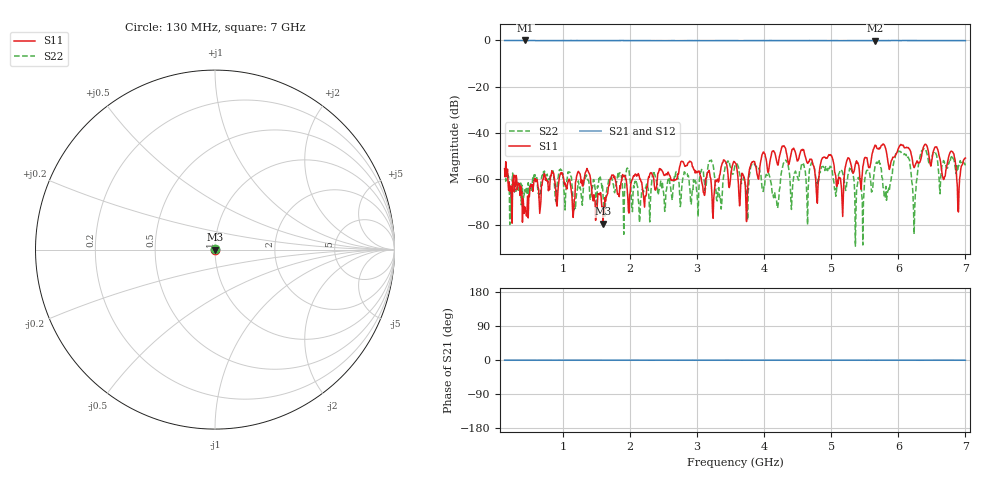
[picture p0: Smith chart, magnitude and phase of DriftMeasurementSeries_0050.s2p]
# Hz S RI R 50.000000
! Metas.Vna.Tools, 2.8.8664.20301
! Metas.Vna.Data, 2.8.8664.20285
! Created: UTC 2024.02.11 10:08:24
! FREQ  re:S1,1  im:S1,1  re:S2,1  im:S2,1  re:S1,2  im:S1,2  re:S2,2  im:S2,2
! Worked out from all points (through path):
!   801 points, 130 MHz to 7 GHz, reference 50 ohm
!   highest |S21| = 0.01 dB at 439.1 MHz (marker M1); lowest = -0.1 dB at 5.652 GHz (marker M2)
!   lowest |S11| = -79.3 dB at 1.598 GHz (marker M3), VSWR 1.00, Z = 50 + j0.00946 ohm
!   |S11| at or under -10 dB: start of sweep to end of sweep
!   |S22| runs from -89.0 to -46.6 dB; largest |S21 - S12| = 0.012
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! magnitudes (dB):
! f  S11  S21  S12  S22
! 130 MHz  -55.5  0.0  0.0  -56.6
! 439.1 MHz  -73.8  0.0  0.0  -65.5
! 1.281 GHz  -60.4  0.0  0.0  -69.7
! 1.598 GHz  -79.3  -0.1  0.0  -67.2
! 2.423 GHz  -57.3  -0.1  0.0  -66.3
! 3.247 GHz  -68.6  -0.1  0.0  -55.5
! 3.333 GHz  -58.5  -0.1  0.0  -67.8
! 3.565 GHz  -52.8  -0.1  0.0  -54.0
! 3.728 GHz  -70.8  -0.1  0.0  -63.2
! 3.848 GHz  -52.4  0.0  0.0  -53.3
! 4.183 GHz  -51.9  0.0  0.0  -68.8
! 4.312 GHz  -46.3  0.0  0.0  -52.3
! 4.716 GHz  -52.1  0.0  0.0  -53.0
! 5.154 GHz  -64.3  -0.1  0.0  -56.2
! 5.652 GHz  -45.3  -0.1  0.0  -54.8
! 5.858 GHz  -54.5  0.0  0.0  -63.9
! 6.004 GHz  -46.5  0.0  0.0  -47.8
! 6.236 GHz  -55.0  -0.1  0.0  -83.8
! 6.373 GHz  -46.2  -0.1  0.0  -46.6
! 6.802 GHz  -48.0  -0.1  0.0  -49.8
! 6.897 GHz  -74.2  -0.1  0.0  -54.0
! 7 GHz  -50.9  -0.1  0.0  -54.2
